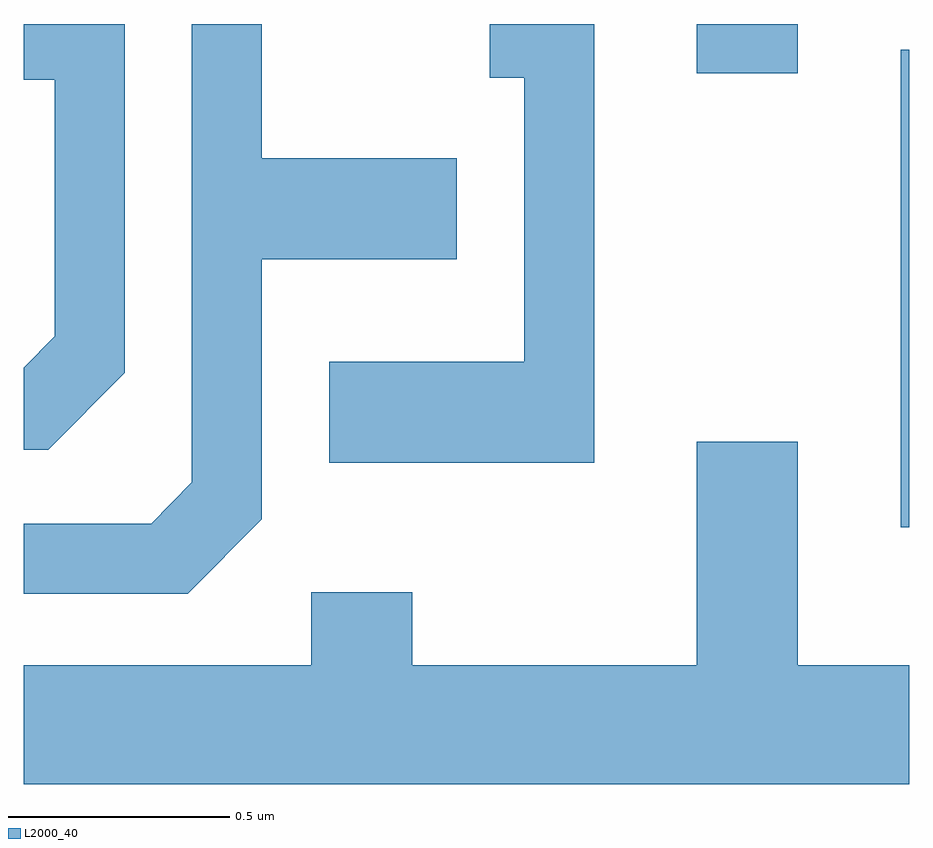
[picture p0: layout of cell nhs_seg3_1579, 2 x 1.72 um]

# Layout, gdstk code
import gdstk
lib = gdstk.Library(unit=1e-6, precision=1e-09)
def R(c, l, rs):  # rectangles x0, y0, x1, y1
    for r in rs: c.add(gdstk.rectangle(r[:2], r[2:], *l))
def P(c, l, *ps):  # polygons
    for p in ps: c.add(gdstk.Polygon(p, *l))
L2000_40 = (2000, 40)

nhs_seg3_1579 = lib.new_cell('nhs_seg3_1579')
R(nhs_seg3_1579, L2000_40, [(198.591,1188.756,198.611,1189.834), (198.131,1189.781,198.359,1189.892)])
P(nhs_seg3_1579, L2000_40, [(196.839,1189.104),(196.839,1189.892),(196.611,1189.892),(196.611,1189.766),(196.681,1189.766),(196.681,1189.187),(196.611,1189.116),(196.611,1188.931),(196.667,1188.931)],
  [(197.149,1188.774),(197.149,1189.361),(197.589,1189.361),(197.589,1189.589),(197.149,1189.589),(197.149,1189.892),(196.991,1189.892),(196.991,1188.857),(196.899,1188.764),(196.611,1188.764),(196.611,1188.606),(196.982,1188.606)],
  [(197.899,1189.892),(197.663,1189.892),(197.663,1189.771),(197.741,1189.771),(197.741,1189.129),(197.301,1189.129),(197.301,1188.901),(197.899,1188.901)],
  [(198.611,1188.444),(198.359,1188.444),(198.359,1188.949),(198.131,1188.949),(198.131,1188.444),(197.489,1188.444),(197.489,1188.609),(197.261,1188.609),(197.261,1188.444),(196.611,1188.444),(196.611,1188.176),(198.611,1188.176)])

lib.write_gds('nhs_seg3_1579.gds')
